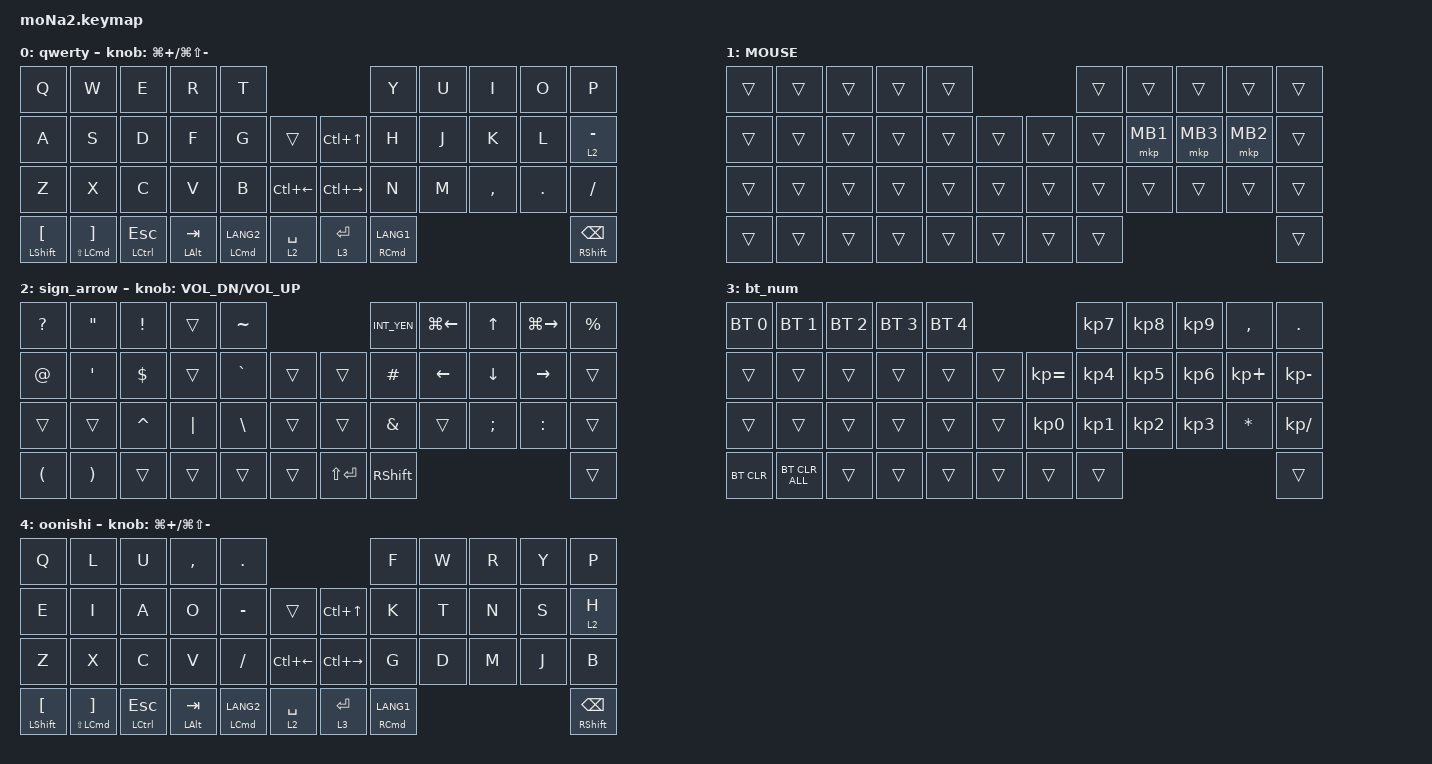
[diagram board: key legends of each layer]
#include <behaviors.dtsi>
#include <dt-bindings/zmk/bt.h>
#include <dt-bindings/zmk/keys.h>
#include <dt-bindings/zmk/mouse.h>

#define MOUSE 6

&mt {
    flavor = "balanced";
    quick-tap-ms = <0>;
};

/ {
    combos {
        compatible = "zmk,combos";

        power {
            bindings = <&kp K_POWER>;
            key-positions = <8 9>;
        };

        oonishi {
            bindings = <&tog 4>;
            key-positions = <28 16>;
        };
    };

    macros {
        to_layer_0: to_layer_0 {
            compatible = "zmk,behavior-macro-one-param";
            #binding-cells = <1>;
            bindings = <&to 0 &macro_param_1to1 &kp MACRO_PLACEHOLDER>;
            label = "TO_LAYER_0";
        };
    };

    behaviors {
        lt_to_layer_0: lt_to_layer_0 {
            compatible = "zmk,behavior-hold-tap";
            label = "LAYER_TAP_TO_0";
            bindings = <&mo>, <&to_layer_0>;

            #binding-cells = <2>;
            tapping-term-ms = <200>;
        };
    };

    keymap {
        compatible = "zmk,keymap";

        qwerty {
            bindings = <
&kp Q                        &kp W                       &kp E          &kp R             &kp T                                                      &kp Y           &kp U  &kp I      &kp O    &kp P
&kp A                        &kp S                       &kp D          &kp F             &kp G           &trans                &kp LC(UP_ARROW)     &kp H           &kp J  &kp K      &kp L    &lt 2 MINUS
&kp Z                        &kp X                       &kp C          &kp V             &kp B           &kp LC(LEFT_ARROW)    &kp LC(RIGHT_ARROW)  &kp N           &kp M  &kp COMMA  &kp DOT  &kp SLASH
&mt LEFT_SHIFT LEFT_BRACKET  &mt LS(LCMD) RIGHT_BRACKET  &mt LCTRL ESC  &mt LEFT_ALT TAB  &mt LCMD LANG2  &lt 2 SPACE           &lt 3 ENTER          &mt RCMD LANG1                             &mt RIGHT_SHIFT BACKSPACE
            >;

            sensor-bindings = <&inc_dec_kp LG(PLUS) LG(LS(MINUS))>;
        };

        MOUSE {
            bindings = <
&trans  &trans  &trans  &trans  &trans                    &trans  &trans    &trans    &trans    &trans
&trans  &trans  &trans  &trans  &trans  &trans    &trans  &trans  &mkp MB1  &mkp MB3  &mkp MB2  &trans
&trans  &trans  &trans  &trans  &trans  &trans    &trans  &trans  &trans    &trans    &trans    &trans
&trans  &trans  &trans  &trans  &trans  &trans    &trans  &trans                                &trans
            >;
        };

        sign_arrow {
            bindings = <
&kp QUESTION  &kp DOUBLE_QUOTES  &kp EXCLAMATION  &trans    &kp TILDE                               &kp INT_YEN      &kp LG(LEFT_ARROW)  &kp UP_ARROW    &kp LG(RIGHT_ARROW)  &kp PERCENT
&kp AT_SIGN   &kp SQT            &kp DOLLAR       &trans    &kp GRAVE      &trans    &trans         &kp HASH         &kp LEFT_ARROW      &kp DOWN_ARROW  &kp RIGHT_ARROW      &trans
&trans        &trans             &kp CARET        &kp PIPE  &kp BACKSLASH  &trans    &trans         &kp AMPERSAND    &trans              &kp SEMI        &kp COLON            &trans
&kp LPAR      &kp RPAR           &trans           &trans    &trans         &trans    &kp LS(ENTER)  &kp RIGHT_SHIFT                                                           &trans
            >;

            sensor-bindings = <&inc_dec_kp C_VOL_DN C_VOL_UP>;
        };

        bt_num {
            bindings = <
&bt BT_SEL 0  &bt BT_SEL 1    &bt BT_SEL 2  &bt BT_SEL 3  &bt BT_SEL 4                             &kp KP_NUMBER_7  &kp KP_NUMBER_8  &kp KP_NUMBER_9  &kp COMMA     &kp DOT
&trans        &trans          &trans        &trans        &trans        &trans    &kp KP_EQUAL     &kp KP_NUMBER_4  &kp KP_NUMBER_5  &kp KP_NUMBER_6  &kp KP_PLUS   &kp KP_SUBTRACT
&trans        &trans          &trans        &trans        &trans        &trans    &kp KP_NUMBER_0  &kp KP_NUMBER_1  &kp KP_NUMBER_2  &kp KP_NUMBER_3  &kp ASTERISK  &kp KP_DIVIDE
&bt BT_CLR    &bt BT_CLR_ALL  &trans        &trans        &trans        &trans    &trans           &trans                                                           &trans
            >;
        };

        oonishi {
            bindings = <
&kp Q                        &kp L                       &kp U          &kp COMMA         &kp DOT                                                    &kp F           &kp W  &kp R  &kp Y  &kp P
&kp E                        &kp I                       &kp A          &kp O             &kp MINUS       &trans                &kp LC(UP_ARROW)     &kp K           &kp T  &kp N  &kp S  &lt 2 H
&kp Z                        &kp X                       &kp C          &kp V             &kp FSLH        &kp LC(LEFT_ARROW)    &kp LC(RIGHT_ARROW)  &kp G           &kp D  &kp M  &kp J  &kp B
&mt LEFT_SHIFT LEFT_BRACKET  &mt LS(LCMD) RIGHT_BRACKET  &mt LCTRL ESC  &mt LEFT_ALT TAB  &mt LCMD LANG2  &lt 2 SPACE           &lt 3 ENTER          &mt RCMD LANG1                       &mt RIGHT_SHIFT BACKSPACE
            >;

            sensor-bindings = <&inc_dec_kp LG(PLUS) LG(LS(MINUS))>;
        };
    };
};
